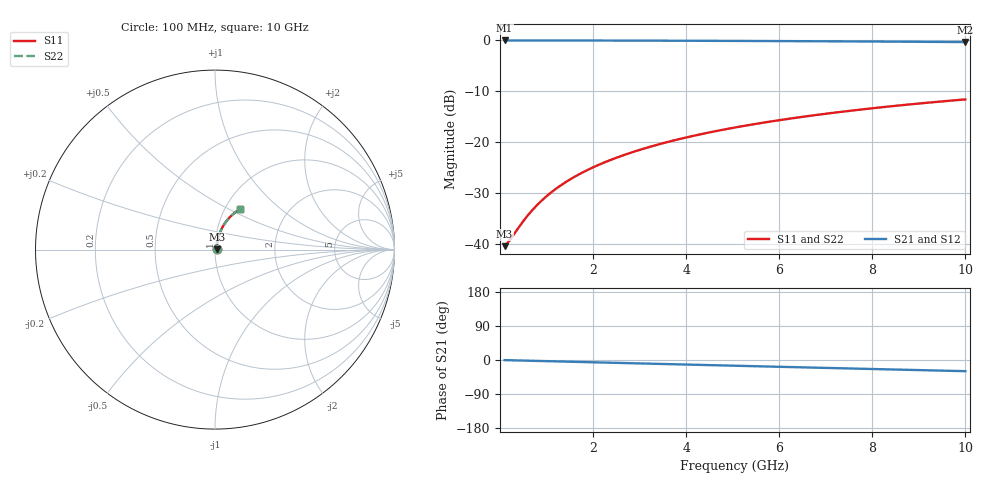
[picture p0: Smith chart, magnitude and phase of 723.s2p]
# Hz S RI R 50.00
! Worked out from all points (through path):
!   100 points, 100 MHz to 10 GHz, reference 50 ohm
!   highest |S21| = -0.08 dB at 100 MHz (marker M1); lowest = -0.4 dB at 10 GHz (marker M2)
!   group delay of S21, straight-line fit = 8.21 ps
!   lowest |S11| = -40.4 dB at 100 MHz (marker M3), VSWR 1.02, Z = 50.9 + j0.28 ohm
!   |S11| at or under -10 dB: start of sweep to end of sweep
!   |S22| runs from -40.4 to -11.6 dB; largest |S21 - S12| = 0
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1e8  0.00916 0.00275  0.9908 -0.0052  0.9908 -0.0052  0.00916 0.00275
2e8  0.00927 0.0055  0.9907 -0.0104  0.9907 -0.0104  0.00927 0.0055
5e8  0.00968 0.0137  0.9902 -0.026  0.9902 -0.026  0.00968 0.0137
6e8  0.00986 0.0165  0.99 -0.0312  0.99 -0.0312  0.00986 0.0165
7e8  0.0101 0.0192  0.9898 -0.0364  0.9898 -0.0364  0.0101 0.0192
9e8  0.0106 0.0247  0.9892 -0.0468  0.9892 -0.0468  0.0106 0.0247
1.1e9  0.0112 0.0301  0.9884 -0.0571  0.9884 -0.0571  0.0112 0.0301
1.3e9  0.0119 0.0356  0.9875 -0.0675  0.9875 -0.0675  0.0119 0.0356
1.5e9  0.0127 0.041  0.9865 -0.0778  0.9865 -0.0778  0.0127 0.041
1.8e9  0.0142 0.0491  0.9848 -0.0933  0.9848 -0.0933  0.0142 0.0491
2.1e9  0.0159 0.0571  0.9827 -0.1087  0.9827 -0.1087  0.0159 0.0571
2.5e9  0.0186 0.0677  0.9795 -0.1292  0.9795 -0.1292  0.0186 0.0677
2.9e9  0.0217 0.0782  0.9757 -0.1495  0.9757 -0.1495  0.0217 0.0782
3.4e9  0.0262 0.0911  0.9703 -0.1747  0.9703 -0.1747  0.0262 0.0911
3.8e9  0.0302 0.1012  0.9653 -0.1946  0.9653 -0.1946  0.0302 0.1012
4.2e9  0.0347 0.1111  0.9599 -0.2144  0.9599 -0.2144  0.0347 0.1111
5.1e9  0.0461 0.1326  0.9458 -0.2581  0.9458 -0.2581  0.0461 0.1326
5.9e9  0.0579 0.1507  0.9313 -0.2959  0.9313 -0.2959  0.0579 0.1507
6.7e9  0.0711 0.1676  0.915 -0.3326  0.915 -0.3326  0.0711 0.1676
7.5e9  0.0855 0.1832  0.8971 -0.3681  0.8971 -0.3681  0.0855 0.1832
8.4e9  0.103 0.1993  0.875 -0.4065  0.875 -0.4065  0.103 0.1993
1e10  0.1371 0.2235  0.8316 -0.4704  0.8316 -0.4704  0.1371 0.2235
